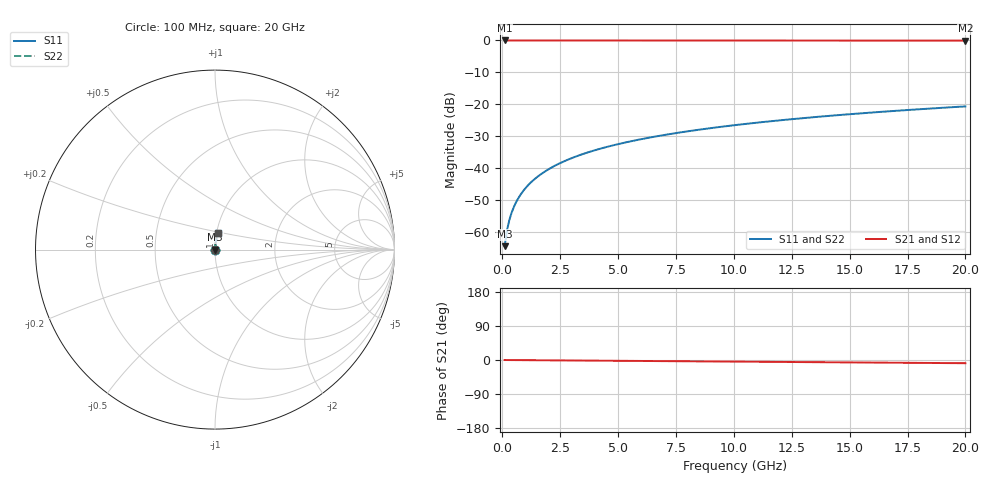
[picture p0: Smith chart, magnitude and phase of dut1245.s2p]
! Touchstone file exported from HFSS 2026.1.0
!  File:  C:/ffzhzh/LocalFiles/Ansys_Project_Files/temp_train_TSV_1245_1783193552_51560.aedt
!  Generated:  03:34:43 AM Jul  5, 2026
!  Design:  TSV
!  Project:  temp_train_TSV_1245_1783193552_51560
! Variables:
!  h_bsmrdl = 2um
!  h_ox = 20um
!  h_rdl = 5um
!  h_sub = 56.22um
!  h_tmrdl = 5um
!  h_tsv = 56.22um
!  h_via = 3um
!  l_bsmrdl = 300um
!  l_sub = 409.14um
!  l_tmrdl = 200um
!  m_sub = 200um
!  pitch = 57.09um
!  r_tsv = 4.57um
!  s_tmrdl = 10um
!  w_bsmrdl = 18um
!  w_sub = 500um
!  w_tmrdl = 12um
!  x_tsv_center1 = 206um
!  x_tsv_center2 = 524um
!  x_tsv_center3 = 736um
!  x_tsv_center4 = 1054um
!  x_tsv_center5 = 1266um
!  x_tsv_center6 = 1584um
# GHz S MA R 50.000000
! Terminal data exported
! Port[1] = TSV1_1_T1
! Port[2] = TSV1_1_T2
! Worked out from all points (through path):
!   200 points, 100 MHz to 20 GHz, reference 50 ohm
!   highest |S21| = 0.00 dB at 100 MHz (marker M1); lowest = -0.1 dB at 20 GHz (marker M2)
!   group delay of S21, straight-line fit = 1.17 ps
!   lowest |S11| = -64.4 dB at 100 MHz (marker M3), VSWR 1.00, Z = 50 + j0.0499 ohm
!   |S11| at or under -10 dB: start of sweep to end of sweep
!   |S22| runs from -64.4 to -20.6 dB; largest |S21 - S12| = 1.1e-15
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0.1  0.0006049 55.6  0.9997 -0.0  0.9997 -0.0  0.0006049 55.6
! Gamma 0 0 0 0
! Port Impedance 50 0 50 0
0.2  0.001055 70.5  0.9996 -0.1  0.9996 -0.1  0.001055 70.5
0.3  0.001529 76.2  0.9996 -0.1  0.9996 -0.1  0.001529 76.2
0.4  0.002008 79.1  0.9996 -0.2  0.9996 -0.2  0.002008 79.1
0.5  0.002487 80.9  0.9996 -0.2  0.9996 -0.2  0.002487 80.9
0.7  0.003444 83.0  0.9996 -0.3  0.9996 -0.3  0.003444 83.0
0.8  0.003924 83.6  0.9996 -0.3  0.9996 -0.3  0.003924 83.6
1  0.004882 84.6  0.9996 -0.4  0.9996 -0.4  0.004882 84.6
1.2  0.005842 85.2  0.9995 -0.5  0.9995 -0.5  0.005842 85.2
1.4  0.006801 85.6  0.9995 -0.6  0.9995 -0.6  0.006801 85.6
1.7  0.008239 85.9  0.9995 -0.7  0.9995 -0.7  0.008239 85.9
2  0.009675 86.1  0.9994 -0.9  0.9994 -0.9  0.009675 86.1
2.7  0.01302 86.3  0.9993 -1.2  0.9993 -1.2  0.01302 86.3
3.5  0.01681 86.2  0.9992 -1.5  0.9992 -1.5  0.01681 86.2
4.2  0.02012 86.1  0.9991 -1.8  0.9991 -1.8  0.02012 86.1
5  0.02388 85.9  0.9989 -2.1  0.9989 -2.1  0.02388 85.9
6.8  0.03228 85.4  0.9985 -2.9  0.9985 -2.9  0.03228 85.4
8.3  0.03926 84.9  0.9981 -3.5  0.9981 -3.5  0.03926 84.9
10.1  0.0476 84.3  0.9977 -4.3  0.9977 -4.3  0.0476 84.3
13.4  0.06282 83.1  0.9967 -5.7  0.9967 -5.7  0.06282 83.1
16.7  0.07795 81.8  0.9954 -7.1  0.9954 -7.1  0.07795 81.8
20  0.09297 80.5  0.994 -8.5  0.994 -8.5  0.09297 80.5
